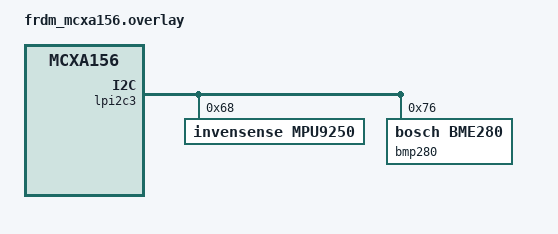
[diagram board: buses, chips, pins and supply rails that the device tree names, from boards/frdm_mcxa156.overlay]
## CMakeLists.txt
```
cmake_minimum_required(VERSION 3.20.0)

# Pull in the Zephyr build system
find_package(Zephyr REQUIRED HINTS $ENV{ZEPHYR_BASE})

project(gy_91)

# Export compile commands for clangd (Neovim)
set(CMAKE_EXPORT_COMPILE_COMMANDS ON)

target_sources(app PRIVATE src/main.c)
```

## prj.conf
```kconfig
# printk() enable for console output
# CONFIG_PRINTK=y

# Enable Logging 
CONFIG_LOG=y
CONFIG_LOG_DEFAULT_LEVEL=3

# Enable GPIOS
# CONFIG_GPIO=y

# Enable I2C 
CONFIG_I2C=y

# Sensor Subsystem 
CONFIG_SENSOR=y

# MPU9250 driver 
CONFIG_MPU9250=y
CONFIG_MPU9250_TRIGGER_NONE=y
CONFIG_MPU9250_MAGN_EN=y

# BME280 driver
CONFIG_BME280=y

# Floating point printing support
CONFIG_CBPRINTF_FP_SUPPORT=y
```

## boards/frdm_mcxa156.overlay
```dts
/*
* GY-91 module: MPU9250 + BME280 sensor (Sharing same I2C bus)
*   GY-91 VCC -> 3.3V
*   GY-91 GND -> GND
*   GY-91 SCL -> P3_27
*   GY-91 SDA -> P3_28
*/ 

&lpi2c3 {
  status = "okay";

  mpu9250@68 {
    compatible = "invensense,mpu9250";
    reg = <0x68>;
    status = "okay";

    /* Gyro: +- 2000dps, DLPF 186 Hz, sample rate divider 0 */
    gyro-fs = <2000>;
    gyro-dlpf = <184>;
    gyro-sr-div = <0>;

    /* Accel: +- 16g, DLPF 218.1 Hz*/
    accel-fs = <16>;
    accel-dlpf = "218.1";
  };

  bmp280@76 {
    compatible = "bosch,bme280";
    reg = <0x76>;
    status = "okay";
  };
};
```

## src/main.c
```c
#include <zephyr/kernel.h>
#include <zephyr/device.h>
#include <zephyr/devicetree.h>
#include <zephyr/drivers/sensor.h>
#include <zephyr/logging/log.h>

LOG_MODULE_REGISTER(gy91_logger, LOG_LEVEL_DBG);

#define MPU9250_NODE    DT_COMPAT_GET_ANY_STATUS_OKAY(invensense_mpu9250)
#define BMP280_NODE    DT_COMPAT_GET_ANY_STATUS_OKAY(bosch_bme280)

static const struct device *const mpu = DEVICE_DT_GET(MPU9250_NODE);
static const struct device *const bmp = DEVICE_DT_GET(BMP280_NODE);

static int sensor_check(const struct device *dev, const char *label) {
  if (dev == NULL) {
    LOG_ERR("%s: No device found in devicetree", label);
    return -ENODEV;
  }

  if (!device_is_ready(dev)) {
    LOG_ERR("%s: Device is not ready", label);
    return -ENODEV;
  }

  LOG_INF("%s: Device is ready (%s)", label, dev -> name);
  return 0;
}

// MPU9250 
static int mpu9250_read(void) {
  struct sensor_value accel[3], gyro[3], magn[3], die_temp;
  int rc;

  rc = sensor_sample_fetch(mpu);
  if (rc < 0) {
    LOG_ERR("MPU9250 fetch failed: %d", rc);
    return rc;
  }

  rc = sensor_channel_get(mpu, SENSOR_CHAN_ACCEL_XYZ, accel);
  rc |= sensor_channel_get(mpu, SENSOR_CHAN_GYRO_XYZ, gyro);
  rc |= sensor_channel_get(mpu, SENSOR_CHAN_MAGN_XYZ, magn);
  rc |= sensor_channel_get(mpu, SENSOR_CHAN_DIE_TEMP, &die_temp);

  if (rc < 0) {
    LOG_ERR("MPU9250 channel get failed: %d", rc);
    return rc;
  }

  LOG_INF("Accel: %.2f  %.2f  %.2f ms^2  "
          "Gyro:  %.2f  %.2f  %.2f rad/s "
          "Mag:   %.2f  %.2f  %.2f uT "
          "DieT:  %.2f C",
          sensor_value_to_double(&accel[0]),
          sensor_value_to_double(&accel[1]),
          sensor_value_to_double(&accel[2]),
          sensor_value_to_double(&gyro[0]),
          sensor_value_to_double(&gyro[1]),
          sensor_value_to_double(&gyro[2]),
          sensor_value_to_double(&magn[0]),
          sensor_value_to_double(&magn[1]),
          sensor_value_to_double(&magn[2]),
          sensor_value_to_double(&die_temp)
          );

  return 0;
}

// BMP280 
static int bmp280_read(void) {
  struct sensor_value temp, press;
  int rc;

  rc = sensor_sample_fetch(bmp);

  if (rc < 0) {
    LOG_ERR("BMP280 fetch failed: %d", rc);
    return rc;
  }

  rc = sensor_channel_get(bmp, SENSOR_CHAN_AMBIENT_TEMP, &temp);
  rc |= sensor_channel_get(bmp, SENSOR_CHAN_PRESS, &press);

  if (rc < 0) {
    LOG_ERR("BMP280 channel get failed: %d", rc);
    return rc;
  }

  LOG_INF("Temp: %.2f C, Pressure: %.2f hPa",
          sensor_value_to_double(&temp),
          sensor_value_to_double(&press) / 100.0
          );

  return 0;
}

int main(void)
{
  if (sensor_check(mpu, "MPU9250") < 0) return -1;
  if (sensor_check(bmp, "BMP280") < 0) return -1;

  while (1) {
    mpu9250_read();
    bmp280_read();
    k_msleep(1000);
  }

  return 0;
}
```
